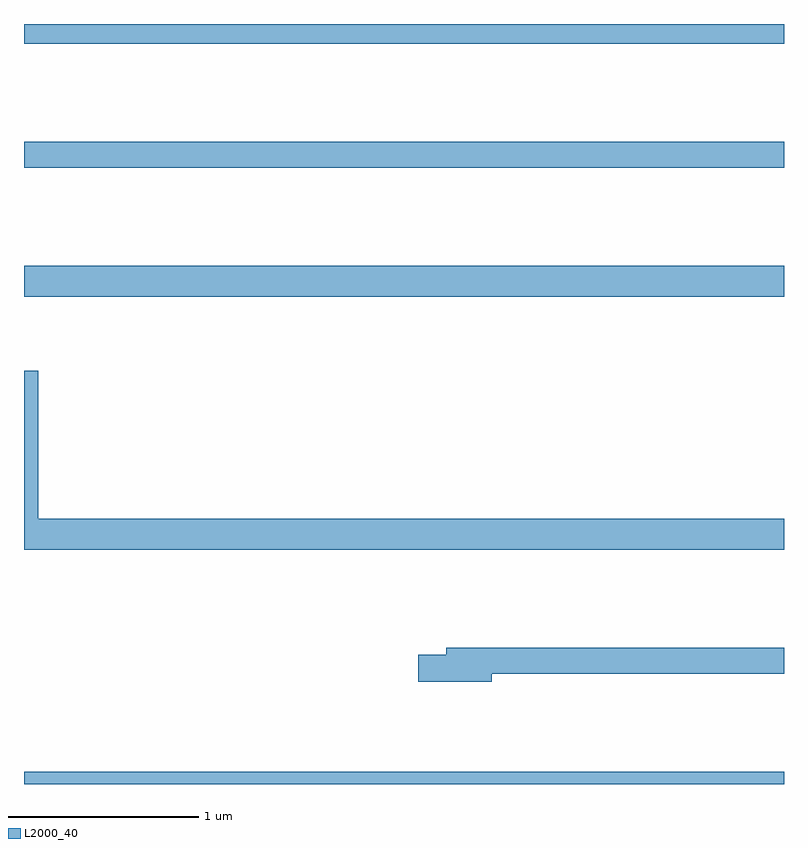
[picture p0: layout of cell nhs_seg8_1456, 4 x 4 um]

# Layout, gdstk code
import gdstk
lib = gdstk.Library(unit=1e-6, precision=1e-09)
def R(c, l, rs):  # rectangles x0, y0, x1, y1
    for r in rs: c.add(gdstk.rectangle(r[:2], r[2:], *l))
def P(c, l, *ps):  # polygons
    for p in ps: c.add(gdstk.Polygon(p, *l))
L2000_40 = (2000, 40)

nhs_seg8_1456 = lib.new_cell('nhs_seg8_1456')
R(nhs_seg8_1456, L2000_40, [(203,1149.9,207,1149.964), (203,1152.464,207,1152.628), (203,1153.144,207,1153.28), (203,1153.796,207,1153.9)])
P(nhs_seg8_1456, L2000_40, [(207,1151.296),(203.075,1151.296),(203.075,1152.076),(203,1152.076),(203,1151.132),(207,1151.132)],
  [(205.462,1150.48),(207,1150.48),(207,1150.616),(205.223,1150.616),(205.223,1150.58),(205.074,1150.58),(205.074,1150.438),(205.462,1150.438)])

lib.write_gds('nhs_seg8_1456.gds')
